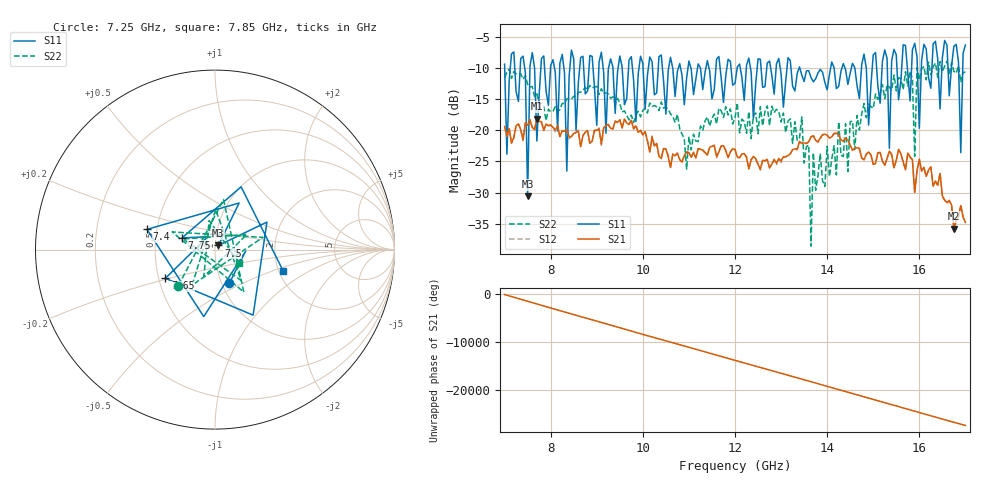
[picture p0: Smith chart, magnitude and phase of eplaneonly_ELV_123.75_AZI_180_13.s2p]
! 10/29/2026 5:13:30 PM
! C:\ANRITSUVNA\TEMP\TEMP.S2P
! CHANNEL.1
! TR.MEASUREMENT
! RAW.DATA
# HZ S RI R 50.0
! FREQ.HZ  S11RE  S11IM  S21RE  S21IM  S12RE  S12IM  S22RE  S22IM
!; PortSelection: Port_12
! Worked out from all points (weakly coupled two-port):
!   201 points, 7 GHz to 17 GHz, reference 50 ohm
!   highest |S21| = -18.09 dB at 7.7 GHz (marker M1); lowest = -35.8 dB at 16.75 GHz (marker M2)
!   lowest |S11| = -30.6 dB at 7.5 GHz (marker M3), VSWR 1.06, Z = 51.8 + j2.38 ohm
!   |S11| at or under -10 dB: 8.287 GHz to 8.415 GHz (128.2 MHz wide, 1.54 % of centre); 9.14 GHz to 9.254 GHz (114.7 MHz wide, 1.25 % of centre); 13.41 GHz to 14.08 GHz (666.5 MHz wide, 4.85 % of centre) (the widest 3 of 44)
!   |S22| runs from -38.6 to -8.8 dB; largest |S21 - S12| = 0.044
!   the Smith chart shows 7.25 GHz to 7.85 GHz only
!   S11 on the Smith chart (normalised r, x): 7.25 GHz: 1.08, -0.43; 7.4 GHz: 0.44, +0.12; 7.5 GHz: 1.04, +0.05; 7.65 GHz: 0.54, -0.19; 7.75 GHz: 0.68, +0.09; 7.85 GHz: 2.11, -0.59
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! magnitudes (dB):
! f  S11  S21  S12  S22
! 7 GHz  -9.3  -19.4  -19.4  -11.5
! 7.25 GHz  -13.8  -19.2  -19.2  -10.9
! 7.4 GHz  -8.1  -21.5  -21.7  -11.8
! 7.5 GHz  -30.6  -19.2  -19.3  -12.6
! 7.65 GHz  -9.9  -19.9  -20.0  -14.6
! 7.7 GHz  -21.7  -18.1  -18.2  -14.1
! 7.75 GHz  -14.2  -18.5  -18.5  -15.7
! 7.85 GHz  -8.0  -20.0  -20.0  -16.3
! 8.25 GHz  -7.8  -20.0  -20.2  -15.7
! 8.35 GHz  -26.6  -19.8  -19.8  -14.9
! 8.7 GHz  -8.1  -20.9  -20.8  -13.6
! 10.35 GHz  -8.1  -24.1  -24.1  -16.8
! 12 GHz  -12.4  -23.0  -23.1  -18.0
! 13.45 GHz  -11.1  -22.1  -22.1  -17.8
! 13.65 GHz  -11.5  -21.0  -21.0  -38.6
! 13.7 GHz  -12.2  -20.9  -20.9  -23.6
! 15.25 GHz  -7.0  -25.6  -25.6  -14.9
! 15.35 GHz  -22.9  -23.3  -23.3  -13.0
! 15.45 GHz  -7.0  -26.0  -25.9  -11.1
! 16.75 GHz  -6.5  -35.8  -35.9  -10.5
! 16.9 GHz  -23.6  -32.1  -32.0  -12.3
! 17 GHz  -6.3  -34.8  -34.8  -10.6
